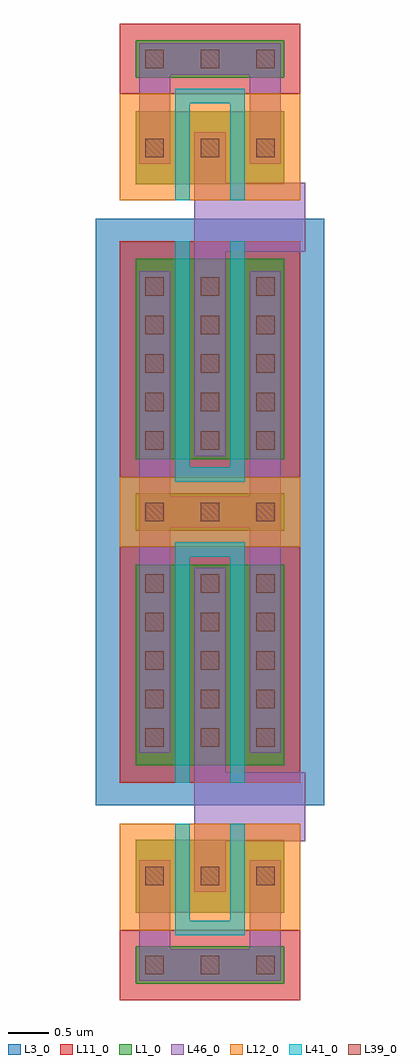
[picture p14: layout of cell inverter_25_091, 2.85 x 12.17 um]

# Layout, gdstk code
import gdstk
lib = gdstk.Library(unit=1e-6, precision=1e-09)
def R(c, l, rs):  # rectangles x0, y0, x1, y1
    for r in rs: c.add(gdstk.rectangle(r[:2], r[2:], *l))
def A(c, l, x, y, w, h, nx, ny, dx, dy):  # array of equal rectangles
    R(c, l, [(x+i*dx, y+j*dy, x+i*dx+w, y+j*dy+h) for i in range(nx) for j in range(ny)])
L1_0 = (1, 0)
L3_0 = (3, 0)
L11_0 = (11, 0)
L12_0 = (12, 0)
L39_0 = (39, 0)
L41_0 = (41, 0)
L46_0 = (46, 0)

inverter_25_091 = lib.new_cell('inverter_25_091')
A(inverter_25_091, L1_0, -0.01, -3.26, 1.85, 0.47, 1, 3, 0, 5.65)
R(inverter_25_091, L1_0, [(-0.01,-2.37,1.84,-1.46), (-0.01,-0.53,1.84,1.97), (-0.01,3.28,1.84,5.78), (-0.01,6.71,1.84,7.62)])
R(inverter_25_091, L3_0, [(-0.51,-1.03,2.34,6.28)])
R(inverter_25_091, L11_0, [(-0.21,-3.46,2.04,-2.59), (-0.21,-0.75,2.04,2.19), (-0.21,3.06,2.04,6), (-0.21,7.84,2.04,8.71)])
R(inverter_25_091, L12_0, [(-0.21,-2.59,2.04,-1.26), (-0.21,2.19,2.04,3.06), (-0.21,6.51,2.04,7.84)])
A(inverter_25_091, L39_0, 0.11, -3.14, 0.23, 0.23, 3, 2, 0.69, 1.11)
A(inverter_25_091, L39_0, 0.11, -0.3, 0.23, 0.23, 3, 5, 0.69, 0.48)
A(inverter_25_091, L39_0, 0.11, 2.51, 0.23, 0.23, 3, 2, 0.69, 0.89)
A(inverter_25_091, L39_0, 0.11, 3.88, 0.23, 0.23, 3, 4, 0.69, 0.48)
A(inverter_25_091, L39_0, 0.11, 7.05, 0.23, 0.23, 3, 2, 0.69, 1.11)
R(inverter_25_091, L41_0, [(0.48,-2.65,0.66,-1.26), (0.48,-2.65,1.35,-2.47), (1.17,-2.65,1.35,-1.26), (0.48,-0.75,0.66,2.25), (1.17,-0.75,1.35,2.25), (0.48,2.07,1.35,2.25), (0.48,3,0.66,6), (0.48,3,1.35,3.18), (1.17,3,1.35,6), (0.48,6.51,0.66,7.9), (1.17,6.51,1.35,7.9), (0.48,7.72,1.35,7.9)])
A(inverter_25_091, L46_0, 0.03, -3.22, 1.77, 0.39, 1, 3, 0, 5.65)
R(inverter_25_091, L46_0, [(0.03,-3.22,0.42,-1.72), (1.41,-3.22,1.8,-1.72), (0.72,-2.11,1.11,1.93), (0.72,-1.48,2.1,-0.62), (0.03,-0.38,0.42,2.82), (1.41,-0.38,1.8,2.82), (0.03,2.43,0.42,5.63), (1.41,2.43,1.8,5.63), (0.72,3.32,1.11,7.36), (0.72,5.87,2.1,6.73), (0.03,6.97,0.42,8.47), (1.41,6.97,1.8,8.47)])

lib.write_gds('inverter_25_091.gds')
